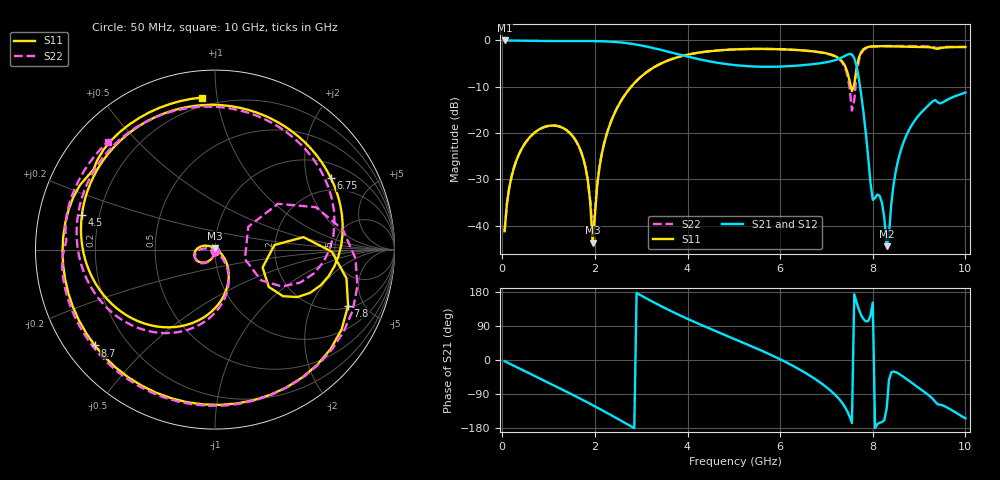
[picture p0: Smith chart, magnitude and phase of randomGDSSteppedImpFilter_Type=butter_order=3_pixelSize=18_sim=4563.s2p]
! freq	dB(S11)	phase(S11)	dB(S12)	phase(S12)
!  dB(S21)	phase(S21)	dB(S22)	phase(S22)
!S-par simulation data
#  GHz  S  DB  R 50
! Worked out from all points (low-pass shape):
!   200 points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, 50 MHz to 10 GHz, reference 50 ohm
!   highest |S21| = -0.01 dB at 50 MHz (marker M1); lowest = -44.5 dB at 8.3 GHz (marker M2)
!   |S21| within 3 dB of the highest: start of sweep to 3.803 GHz; 7.471 GHz to 7.536 GHz (65.14 MHz wide, 0.868 % of centre)
!   lowest |S11| = -43.7 dB at 1.95 GHz (marker M3), VSWR 1.01, Z = 50 + j0.65 ohm
!   |S11| at or under -10 dB: start of sweep to 2.784 GHz; 7.528 GHz to 7.585 GHz (56.47 MHz wide, 0.747 % of centre)
!   |S22| runs from -41.2 to -1.2 dB; largest |S21 - S12| = 0
!   S11 on the Smith chart (normalised r, x): 50 MHz: 1.00, -0.02; 4.5 GHz: 0.13, +0.13; 6.75 GHz: 1.49, +2.80; 7.8 GHz: 2.15, -3.80; 8.7 GHz: 0.09, -0.35; 10 GHz: 0.15, +0.91
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0.05  -41.22 -92.3  -0.01 -3.1  -0.01 -3.1  -41.20 -92.0
0.25  -27.55 -105.6  -0.03 -15.2  -0.03 -15.2  -27.55 -104.6
0.65  -20.34 -131.2  -0.09 -39.3  -0.09 -39.3  -20.34 -128.4
1.75  -25.56 155.6  -0.14 -106.2  -0.14 -106.2  -25.54 173.0
1.95  -43.72 85.3  -0.14 -119.0  -0.14 -119.0  -40.73 -135.0
2.1  -27.30 -34.1  -0.17 -128.8  -0.17 -128.8  -27.11 -49.8
2.35  -17.48 -56.4  -0.27 -145.6  -0.27 -145.6  -17.43 -58.3
3.4  -5.13 -130.5  -1.98 144.0  -1.98 144.0  -5.11 -123.3
4.5  -2.31 165.5  -4.57 81.9  -4.57 81.9  -2.30 178.0
5.05  -1.93 136.2  -5.36 53.7  -5.36 53.7  -1.91 151.5
5.95  -1.89 85.9  -5.67 4.8  -5.67 4.8  -1.88 104.9
6.7  -2.34 35.6  -5.14 -45.7  -5.14 -45.7  -2.37 54.8
6.75  -2.40 31.7  -5.08 -49.7  -5.08 -49.7  -2.43 50.8
7.35  -4.69 -24.3  -3.59 -115.0  -3.59 -115.0  -4.92 -13.4
7.55  -10.95 -20.6  -3.04 -166.4  -3.04 -166.4  -15.16 -17.5
7.8  -1.89 -22.8  -15.63 107.8  -15.63 107.8  -2.11 -3.6
8  -1.28 -55.6  -34.44 151.6  -34.44 151.6  -1.34 -40.3
8.3  -1.26 -94.3  -44.45 -128.0  -44.45 -128.0  -1.21 -80.4
8.35  -1.27 -100.4  -41.95 -52.7  -41.95 -52.7  -1.21 -86.4
8.7  -1.34 -141.4  -21.11 -47.5  -21.11 -47.5  -1.20 -124.3
9.2  -1.46 164.7  -14.04 -92.1  -14.04 -92.1  -1.30 -169.2
10  -1.41 94.8  -11.26 -154.0  -11.26 -154.0  -1.44 134.9
